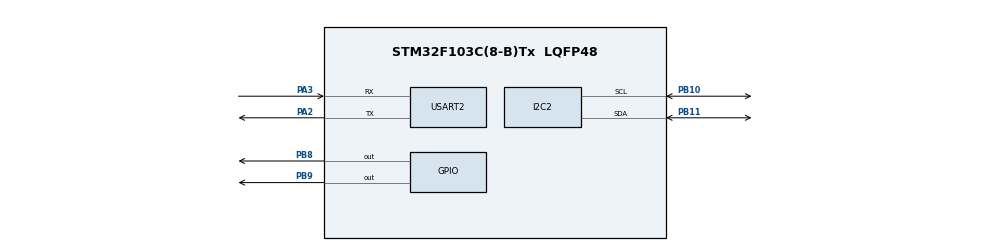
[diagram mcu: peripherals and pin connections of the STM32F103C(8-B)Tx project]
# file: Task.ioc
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Dma.Request0=USART2_RX
Dma.Request1=USART2_TX
Dma.USART2_RX.0.Direction=DMA_PERIPH_TO_MEMORY
Dma.USART2_RX.0.Instance=DMA1_Channel6
Dma.USART2_RX.0.MemDataAlignment=DMA_MDATAALIGN_BYTE
Dma.USART2_RX.0.MemInc=DMA_MINC_ENABLE
Dma.USART2_RX.0.Mode=DMA_NORMAL
Dma.USART2_RX.0.PeriphDataAlignment=DMA_PDATAALIGN_BYTE
Dma.USART2_RX.0.PeriphInc=DMA_PINC_DISABLE
Dma.USART2_RX.0.Priority=DMA_PRIORITY_LOW
Dma.USART2_TX.1.Direction=DMA_MEMORY_TO_PERIPH
Dma.USART2_TX.1.Instance=DMA1_Channel7
Dma.USART2_TX.1.MemDataAlignment=DMA_MDATAALIGN_BYTE
Dma.USART2_TX.1.MemInc=DMA_MINC_ENABLE
Dma.USART2_TX.1.Mode=DMA_NORMAL
Dma.USART2_TX.1.PeriphDataAlignment=DMA_PDATAALIGN_BYTE
Dma.USART2_TX.1.PeriphInc=DMA_PINC_DISABLE
Dma.USART2_TX.1.Priority=DMA_PRIORITY_LOW
Mcu.Family=STM32F1
Mcu.Name=STM32F103C(8-B)Tx
Mcu.Package=LQFP48
NVIC.DMA1_Channel6_IRQn=true\:0\:0\:false\:false\:true\:false\:true\:true
NVIC.DMA1_Channel7_IRQn=true\:0\:0\:false\:false\:true\:false\:true\:true
NVIC.PriorityGroup=NVIC_PRIORITYGROUP_4
NVIC.TIM4_IRQn=true\:15\:0\:false\:false\:true\:false\:true\:true
NVIC.TimeBase=TIM4_IRQn
NVIC.TimeBaseIP=TIM4
NVIC.USART2_IRQn=true\:6\:0\:true\:false\:true\:true\:true\:true
PA13.Mode=Serial_Wire
PA13.Signal=SYS_JTMS-SWDIO
PA14.Mode=Serial_Wire
PA14.Signal=SYS_JTCK-SWCLK
PA2.Mode=Asynchronous
PA2.Signal=USART2_TX
PA3.Mode=Asynchronous
PA3.Signal=USART2_RX
PB10.Mode=I2C
PB10.Signal=I2C2_SCL
PB11.Mode=I2C
PB11.Signal=I2C2_SDA
PB8.Signal=GPIO_Output
PB9.Signal=GPIO_Output
ProjectManager.HeapSize=0x200
ProjectManager.StackSize=0x400
ProjectManager.TargetToolchain=MDK-ARM V5.32
RCC.APB1Freq_Value=8000000
RCC.APB2Freq_Value=8000000
USART2.VirtualMode=VM_ASYNC
VP_SYS_VS_tim4.Mode=TIM4
board=custom

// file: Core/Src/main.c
/* USER CODE BEGIN Header */
/**
  ******************************************************************************
  * @file           : main.c
  * @brief          : Main program body
  ******************************************************************************
  * @attention
  *
  * Copyright (c) 2026 STMicroelectronics.
  * All rights reserved.
  *
  * This software is licensed under terms that can be found in the LICENSE file
  * in the root directory of this software component.
  * If no LICENSE file comes with this software, it is provided AS-IS.
  *
  ******************************************************************************
  */
/* USER CODE END Header */
#include "main.h"
#include "dma.h"
#include "i2c.h"
#include "usart.h"
#include "gpio.h"

/* USER CODE BEGIN Includes */
#include "FreeRTOS.h"
#include "task.h"
#include "semphr.h"
#include "MPU6050.h"
#include "math.h"
#include "OLED.h"
/* USER CODE END Includes */

/* USER CODE BEGIN PV */
/**
 * @brief 声明二进制信号量用于串口通信，队列用于MPU和OLED传递参数，数组用于接受传串口的信息
 *
 */
SemaphoreHandle_t xSemaphorUart;
QueueHandle_t xQueueMPU;
uint8_t receiveData[20];
static uint16_t size;
/* USER CODE END PV */

void SystemClock_Config(void);
/* USER CODE BEGIN PFP */
void HAL_UARTEx_RxEventCallback(UART_HandleTypeDef *huart, uint16_t Size);
void vTaskUart(void*pvParameters);
void vTaskOLED(void*pvParameters);
void vTaskMPU(void*pvParameters);
/* USER CODE END PFP */

/* USER CODE BEGIN 0 */
/**
 * @brief 用接收端为空中断来给串口任务执行指令(二进制信号量)
 */
void HAL_UARTEx_RxEventCallback(UART_HandleTypeDef *huart, uint16_t Size)
{
	size = Size;
	BaseType_t xWoke = pdFALSE;
	xSemaphoreGiveFromISR(xSemaphorUart,&xWoke);
	portYIELD_FROM_ISR(xWoke);
//	HAL_UART_Transmit_DMA(&huart2,receiveData,Size);
//	HAL_UARTEx_ReceiveToIdle_DMA(&huart2,receiveData,sizeof(receiveData));
}
/**
 * @brief 串口任务
 */
void vTaskUart(void*pvParameters)
{
	HAL_UARTEx_ReceiveToIdle_DMA(&huart2,receiveData,sizeof(receiveData));
	while(1)
	{
		xSemaphoreTake(xSemaphorUart,portMAX_DELAY);
		HAL_UART_Transmit_DMA(&huart2,receiveData,size);
		HAL_UARTEx_ReceiveToIdle_DMA(&huart2,receiveData,sizeof(receiveData));
	}
}
/**
 * @brief MPU读取和姿态结算任务，姿态解算用的是融合滤波，只给队列传入最新的结算结果
 */
void vTaskMPU(void*pvParameters)
{
	uint8_t buf[14];
	float Ax,Ay,Az,Gx,Gy,Gz;
	Deal_data_t data;
	data.pitch = 0.0;
	data.roll = 0.0;
	data.yaw = 0.0;
	xQueueOverwrite(xQueueMPU, &data);
	while(1){
		MPU6050_ReadRegs(MPU6050_ACCEL_XOUT_H, buf, 14);

		Ax = (int16_t)(buf[0] << 8 | buf[1])/8192.0f;
		Ay = (int16_t)(buf[2] << 8 | buf[3])/8192.0f;
		Az = (int16_t)(buf[4] << 8 | buf[5])/8192.0f;

		Gx = (int16_t)(buf[8]  << 8 | buf[9])/65.5f;
		Gy = (int16_t)(buf[10]  << 8 | buf[11])/65.5f;
		Gz = (int16_t)(buf[12]  << 8 | buf[13])/65.5f;

		vTaskDelay(pdMS_TO_TICKS(10));
		data.yaw = data.yaw + Gz*0.010;
		data.pitch = 0.95238*(data.pitch + Gx*0.010)+(1-0.95238)*atan2(Ay,Az)/3.1415927*180.0f;
		data.roll = 0.95238*(data.roll + Gy*0.010)+(1-0.95238)*atan2(Ax,Az)/3.1415927*180.0f;
		xQueueOverwrite(xQueueMPU, &data);
	}

}

/**
 * @brief OLED显示任务，直接从队列里面读数
 */
void vTaskOLED(void *pvParameters)
{
    Deal_data_t data;
    OLED_ShowString(2, 1, "roll:");
    OLED_ShowString(3, 1, "yaw:");
    OLED_ShowString(4, 1, "pitch:");
    for (;;)
    {
        if (xQueueReceive(xQueueMPU, &data, portMAX_DELAY) == pdTRUE)
        {
					OLED_ShowFloatNum(2, 8, data.roll,  2);
					OLED_ShowFloatNum(3, 8, data.yaw,   2);
					OLED_ShowFloatNum(4, 8, data.pitch, 2);
        }
    }
}

/* USER CODE END 0 */

int main(void)
{

  /* USER CODE BEGIN 1 */
	xSemaphorUart = xSemaphoreCreateBinary();
	xQueueMPU = xQueueCreate(1,sizeof(Deal_data_t));
  /* USER CODE END 1 */

  /* MCU Configuration--------------------------------------------------------*/

  /* Reset of all peripherals, Initializes the Flash interface and the Systick. */
  HAL_Init();

  /* Configure the system clock */
  SystemClock_Config();

  /* Initialize all configured peripherals */
  MX_GPIO_Init();
  MX_DMA_Init();
  MX_USART2_UART_Init();
  MX_I2C2_Init();
  /* USER CODE BEGIN 2 */

	/// 初始化OLED和MPU6050，并在OLED上显示MPu的初始化情况
	OLED_Init();
	OLED_Clear();
	if(MPU6050_Init() != 0)
	{
		OLED_ShowString(1,1,"MPU6050 Failed");
		Error_Handler();
	}
	OLED_ShowString(1,1,"MPU6050 Success");

	/// 创建任务，并且分配合适的优先级
	xTaskCreate(vTaskUart,"UART",128,NULL,3,NULL);
	xTaskCreate(vTaskMPU,"MPU",256,NULL,3,NULL);
	xTaskCreate(vTaskOLED,"OLED",128,NULL,2,NULL);

	/// 启动任务调度器
	vTaskStartScheduler();
  /* USER CODE END 2 */

  /* Infinite loop */
  while (1)
  {

  }
}

void SystemClock_Config(void)
{
  RCC_OscInitTypeDef RCC_OscInitStruct = {0};
  RCC_ClkInitTypeDef RCC_ClkInitStruct = {0};

  /** Initializes the RCC Oscillators according to the specified parameters
  * in the RCC_OscInitTypeDef structure.
  */
  RCC_OscInitStruct.OscillatorType = RCC_OSCILLATORTYPE_HSI;
  RCC_OscInitStruct.HSIState = RCC_HSI_ON;
  RCC_OscInitStruct.HSICalibrationValue = RCC_HSICALIBRATION_DEFAULT;
  RCC_OscInitStruct.PLL.PLLState = RCC_PLL_NONE;
  if (HAL_RCC_OscConfig(&RCC_OscInitStruct) != HAL_OK)
  {
    Error_Handler();
  }

  /** Initializes the CPU, AHB and APB buses clocks
  */
  RCC_ClkInitStruct.ClockType = RCC_CLOCKTYPE_HCLK|RCC_CLOCKTYPE_SYSCLK
                              |RCC_CLOCKTYPE_PCLK1|RCC_CLOCKTYPE_PCLK2;
  RCC_ClkInitStruct.SYSCLKSource = RCC_SYSCLKSOURCE_HSI;
  RCC_ClkInitStruct.AHBCLKDivider = RCC_SYSCLK_DIV1;
  RCC_ClkInitStruct.APB1CLKDivider = RCC_HCLK_DIV1;
  RCC_ClkInitStruct.APB2CLKDivider = RCC_HCLK_DIV1;

  if (HAL_RCC_ClockConfig(&RCC_ClkInitStruct, FLASH_LATENCY_0) != HAL_OK)
  {
    Error_Handler();
  }
}

void HAL_TIM_PeriodElapsedCallback(TIM_HandleTypeDef *htim)
{
  if (htim->Instance == TIM4)
  {
    HAL_IncTick();
  }
}

void Error_Handler(void)
{
  __disable_irq();
  while (1)
  {
  }
}
